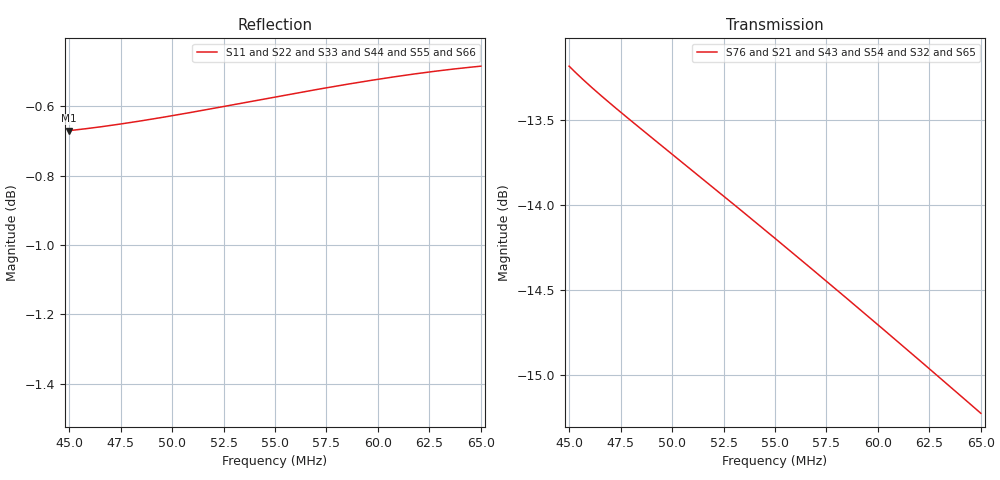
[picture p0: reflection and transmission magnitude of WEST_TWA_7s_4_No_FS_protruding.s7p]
! Touchstone file exported from HFSS 2021.1.0
!  File:  C:/Users/Vins/Desktop/ATT-IV - WEST TWA/ANSYS/TWA bumpers/WEST_TWA_7s_4.aedt
!  Generated:  5:02:59  sept. 29, 2021
!  Design:  No_FS_protruding
!  Project:  WEST_TWA_7s_4
!  Setup:  Setup1
!  Solution:  Sweep
! Variables:
!  antbox_d = 225mm
!  antbox_h = 250mm
!  antbox_w = 1950mm
!  bmp_h = 1000mm
!  box_t = 10mm
!  d_lat_y = 2000mm
!  d_lat_z = 2000mm
!  l_CS = 0mm
!  load_d = 200mm
!  load_h = 4250mm
!  load_t = 200mm
!  load_w = 5950mm
!  prot_d = 200mm
!  strap_ar = 60mm
!  strap_h = 250mm
!  strap_t = 15mm
!  strap_w = 200mm
!  sz = 250mm
!  wp_g = 10mm
!  wp_l = 200mm
!Data is not renormalized
# GHz S MA R 8.597565
! Terminal data exported
! Port[1] = 1
! Port[2] = 2
! Port[3] = 3
! Port[4] = 4
! Port[5] = 5
! Port[6] = 6
! Port[7] = 7
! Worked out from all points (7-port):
!   201 points, 45 MHz to 65 MHz, reference per port
!   strongest paths, dB at 45 MHz, 50 MHz, 55 MHz, 60 MHz, 65 MHz:
!     S76: -13.2, -13.7, -14.2, -14.7, -15.2
!     S21: -13.2, -13.7, -14.2, -14.7, -15.2
!     S43: -13.3, -13.8, -14.3, -14.8, -15.3
!     S54: -13.3, -13.8, -14.3, -14.8, -15.3
!     S32: -13.3, -13.8, -14.3, -14.8, -15.3
!     S65: -13.3, -13.9, -14.3, -14.8, -15.3
!   lowest |S11| = -0.7 dB at 45 MHz (marker M1), VSWR 25.91
!   |S11| at or under -10 dB: nowhere
